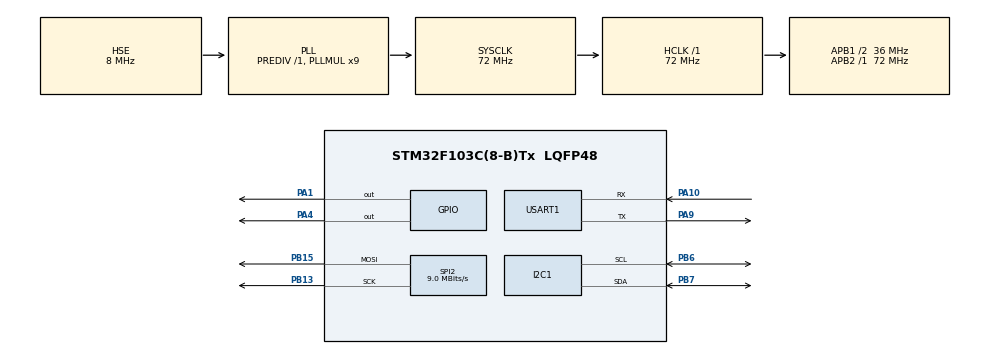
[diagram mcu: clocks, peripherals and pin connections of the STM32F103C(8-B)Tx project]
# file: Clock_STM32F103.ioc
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Mcu.Family=STM32F1
Mcu.Name=STM32F103C(8-B)Tx
Mcu.Package=LQFP48
NVIC.PriorityGroup=NVIC_PRIORITYGROUP_4
NVIC.TIM4_IRQn=true\:0\:0\:false\:false\:true\:true\:true\:true
NVIC.USART1_IRQn=true\:0\:0\:false\:false\:true\:true\:true\:true
PA1.Signal=GPIO_Output
PA10.Mode=Asynchronous
PA10.Signal=USART1_RX
PA13.Mode=Serial_Wire
PA13.Signal=SYS_JTMS-SWDIO
PA14.Mode=Serial_Wire
PA14.Signal=SYS_JTCK-SWCLK
PA4.GPIO_ModeDefaultOutputPP=GPIO_MODE_OUTPUT_OD
PA4.GPIO_Speed=GPIO_SPEED_FREQ_HIGH
PA4.Signal=GPIO_Output
PA9.Mode=Asynchronous
PA9.Signal=USART1_TX
PB13.Mode=TX_Only_Simplex_Unidirect_Master
PB13.Signal=SPI2_SCK
PB15.Mode=TX_Only_Simplex_Unidirect_Master
PB15.Signal=SPI2_MOSI
PB6.GPIO_Pu=GPIO_PULLUP
PB6.Mode=I2C
PB6.Signal=I2C1_SCL
PB7.GPIO_Pu=GPIO_PULLUP
PB7.Mode=I2C
PB7.Signal=I2C1_SDA
PC14-OSC32_IN.Mode=LSE-External-Oscillator
PC14-OSC32_IN.Signal=RCC_OSC32_IN
PC15-OSC32_OUT.Mode=LSE-External-Oscillator
PC15-OSC32_OUT.Signal=RCC_OSC32_OUT
PD0-OSC_IN.Mode=HSE-External-Oscillator
PD0-OSC_IN.Signal=RCC_OSC_IN
PD1-OSC_OUT.Mode=HSE-External-Oscillator
PD1-OSC_OUT.Signal=RCC_OSC_OUT
ProjectManager.HeapSize=0x200
ProjectManager.StackSize=0x400
ProjectManager.TargetToolchain=STM32CubeIDE
RCC.AHBFreq_Value=72000000
RCC.APB1CLKDivider=RCC_HCLK_DIV2
RCC.APB1Freq_Value=36000000
RCC.APB1TimFreq_Value=72000000
RCC.APB2Freq_Value=72000000
RCC.APB2TimFreq_Value=72000000
RCC.HCLKFreq_Value=72000000
RCC.PLLMUL=RCC_PLL_MUL9
RCC.PLLSourceVirtual=RCC_PLLSOURCE_HSE
RCC.RTCClockSelection=RCC_RTCCLKSOURCE_LSE
RCC.SYSCLKFreq_VALUE=72000000
RCC.SYSCLKSource=RCC_SYSCLKSOURCE_PLLCLK
RCC.USBFreq_Value=72000000
RTC.Date=2
RTC.Format=RTC_FORMAT_BIN
RTC.Hours=15
RTC.Minutes=57
RTC.WeekDay=RTC_WEEKDAY_SATURDAY
SPI2.BaudRatePrescaler=SPI_BAUDRATEPRESCALER_4
SPI2.CalculateBaudRate=9.0 MBits/s
SPI2.Direction=SPI_DIRECTION_2LINES
SPI2.Mode=SPI_MODE_MASTER
SPI2.VirtualType=VM_MASTER
TIM4.Period=31999
TIM4.Prescaler=999
USART1.VirtualMode=VM_ASYNC
VP_RTC_VS_RTC_Activate.Mode=RTC_Enabled
VP_RTC_VS_RTC_Calendar.Mode=RTC_Calendar
VP_TIM3_VS_ClockSourceINT.Mode=Internal
VP_TIM4_VS_ClockSourceINT.Mode=Internal
board=custom

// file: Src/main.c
/* USER CODE BEGIN Header */
/**
  ******************************************************************************
  * @file           : main.c
  * @brief          : Main program body
  ******************************************************************************
  * @attention
  *
  * <h2><center>&copy; Copyright (c) 2021 STMicroelectronics.
  * All rights reserved.</center></h2>
  *
  * This software component is licensed by ST under BSD 3-Clause license,
  * the "License"; You may not use this file except in compliance with the
  * License. You may obtain a copy of the License at:
  *                        opensource.org/licenses/BSD-3-Clause
  *
  ******************************************************************************
  */
/* USER CODE END Header */
#include "main.h"

/* USER CODE BEGIN Includes */
#include "MAX7219\font.h"
#include "MAX7219\f6x8m.h"
#include "MAX7219\Max72xx.h"
#include "DHT\dhtConf.h"
#include "DHT\dht.h"
#include <stdio.h>
#include <string.h>
#include <stdlib.h>
/* USER CODE END Includes */

/* USER CODE BEGIN PD */
#define BitSet(xByte,yBit) (xByte|=(1<<yBit))
#define BitClear(xByte,yBit) (xByte&= ~(1<<yBit))
#define BitToggle(xByte,yBit) (xByte^=(1<<yBit))
//#define BitFlip(xByte,yBit) (xByte^=(1<<yBit))
#define BitTest(xByte,yBit)  (xByte&(1<<yBit))
/* USER CODE END PD */

I2C_HandleTypeDef hi2c1;

RTC_HandleTypeDef hrtc;

SPI_HandleTypeDef hspi2;

TIM_HandleTypeDef htim3;
TIM_HandleTypeDef htim4;

UART_HandleTypeDef huart1;

/* USER CODE BEGIN PV */
RTC_TimeTypeDef sTime;
RTC_DateTypeDef sData;
uint8_t needSendData = 0;
DHT_t dht11;
char ScrollBuff[800] = {0};
char WeatherBuffer[100] = {0};
char WeatherTomorrowBuffer[100] = {0};
char WeatherAfterTomorrowBuffer[100] = {0};
char UARTReceiveBuffer[100] = {0};
uint8_t rx_data = 0;
uint16_t rx_index = 0;
uint8_t UARTFlags = 0;
enum E_UARTFlags
{
	E_UARTFlags_UART_RX_COMPLEATE = 0,
	E_UARTFlags_MESSAGE_TOO_LONG,
};
enum E_MyErrore
{
	E_MyErrore_FAILED_TO_ACCEPT_HTTP_REQUEST = 1,
	E_MyErrore_FAILED_TO_CONNECT_TO_ACCESS_POINT,
	E_MyErrore_TIMED_OUT_WHEN_RECEIVING_DATA_FROM_THE_UART,
	E_MyErrore_NOT_DESCRIBED_ERROR,
};
/* USER CODE END PV */

void SystemClock_Config(void);
static void MX_GPIO_Init(void);
static void MX_RTC_Init(void);
static void MX_SPI2_Init(void);
static void MX_TIM4_Init(void);
static void MX_USART1_UART_Init(void);
static void MX_TIM3_Init(void);
static void MX_I2C1_Init(void);

/* USER CODE BEGIN 0 */
void HAL_TIM_PeriodElapsedCallback(TIM_HandleTypeDef* htim)
{
	needSendData = 1;
    //HAL_GPIO_TogglePin(GPIOB, GPIO_PIN_13);
}
void HAL_GPIO_EXTI_Callback(uint16_t GPIO_Pin)
{
  if(GPIO_Pin == dht11.pin)
  {
    DHT_pinChangeCallBack(&dht11);
  }
}

void HAL_UART_RxCpltCallback(UART_HandleTypeDef *huart)
{
	if(huart->Instance == USART1)
	{
		if(rx_index == 0)
		{
			for(uint16_t i = 0; i < sizeof(UARTReceiveBuffer); i++)
			{
				UARTReceiveBuffer[i] = 0;
			}
		}
		if(rx_data != 13)
		{
			if(sizeof(UARTReceiveBuffer) -1 == rx_index)
			{
				BitSet(UARTFlags, E_UARTFlags_MESSAGE_TOO_LONG);
				BitSet(UARTFlags, E_UARTFlags_UART_RX_COMPLEATE);
			}
			else
			{
				UARTReceiveBuffer[rx_index++] = rx_data;
				HAL_UART_Receive_IT(&huart1, &rx_data, 1);
			}
		}
		else if(rx_data == 13)
		{
			BitSet(UARTFlags, E_UARTFlags_UART_RX_COMPLEATE);
			//uartMessage_rx_compleate = 1;
		}

	}
}
uint8_t UARTHandleRx()
{
	if(BitTest(UARTFlags, E_UARTFlags_MESSAGE_TOO_LONG))
	{
		BitClear(UARTFlags, E_UARTFlags_MESSAGE_TOO_LONG);
		BitClear(UARTFlags, E_UARTFlags_UART_RX_COMPLEATE);
		rx_index = 0;
		return 0;
	}
	else
	{
		BitClear(UARTFlags, E_UARTFlags_UART_RX_COMPLEATE);
		rx_index = 0;
		return 1;
	}
	//return 0;
}

uint8_t UARTcheckMessageForErrors()
{
	if(strstr(UARTReceiveBuffer, "Errore") != NULL)// my errore
	{
		return *strstr(UARTReceiveBuffer, "Errore")+7;
	}
	else if(atoi(UARTReceiveBuffer) < 0)//httpClient errore
	{
		return 255 + atoi(UARTReceiveBuffer);
	}
//#define HTTPC_ERROR_CONNECTION_FAILED   (-1)
//#define HTTPC_ERROR_SEND_HEADER_FAILED  (-2)
//#define HTTPC_ERROR_SEND_PAYLOAD_FAILED (-3)
//#define HTTPC_ERROR_NOT_CONNECTED       (-4)
//#define HTTPC_ERROR_CONNECTION_LOST     (-5)
//#define HTTPC_ERROR_NO_STREAM           (-6)
//#define HTTPC_ERROR_NO_HTTP_SERVER      (-7)
//#define HTTPC_ERROR_TOO_LESS_RAM        (-8)
//#define HTTPC_ERROR_ENCODING            (-9)
//#define HTTPC_ERROR_STREAM_WRITE        (-10)
//#define HTTPC_ERROR_READ_TIMEOUT        (-11)
	return 0;
}

uint8_t UARTReadLine(UART_HandleTypeDef *huart, uint32_t rxTimeout)
{
	HAL_UART_Receive_IT(&huart1,&rx_data, 1);
	uint32_t timeOut = 0;
	while(!BitTest(UARTFlags, E_UARTFlags_UART_RX_COMPLEATE))
	{
		HAL_Delay(1);
		if(timeOut++ > rxTimeout)
		{
			return 3;
		}
	}
	if(UARTHandleRx())
	{
		uint8_t temp = UARTcheckMessageForErrors();
		if(temp == 0)
		{
			return 0;
		}
		else
			return temp;
	}
	else
	{
		return 4;
	}
//	return 0;
}

uint8_t UARTSendDataAndReadLine(UART_HandleTypeDef *huart, uint8_t *pData, uint16_t txSize,
uint32_t txTimeout, uint32_t rxTimeout)
{
	HAL_UART_Transmit(huart, pData, txSize, txTimeout);
	//HAL_Delay(100);
	return UARTReadLine(huart, rxTimeout);
}

uint8_t init_Time(uint32_t TimeOut)
{
	//char tempBuf[40]={0};
//		HAL_UART_Transmit(&huart1, (uint8_t *) "getDateTime", 30, 500);
//		//HAL_Delay(100);
//		HAL_UART_Receive_IT(&huart1,&rx_data, 1);
//		uint8_t timeOut = 0;
//		while(!BitTest(UARTFlags, E_UARTFlags_UART_RX_COMPLEATE))
//		{
//			HAL_Delay(50);
//			if(timeOut++ > 20)
//				break;
//		}
		uint8_t val = UARTSendDataAndReadLine(&huart1, (uint8_t *) "getDateTime", 16, 500, TimeOut);
		if((val >= 244))//get httpClient errore. need read line
		{
			val = UARTReadLine(&huart1, TimeOut);
		}
		if(val == 0)
		{
			char* index;
			index	= (char *) strstr(UARTReceiveBuffer, "tm");
			if(index != NULL)
			//if(strstr(UARTReceiveBuffer, "tm") != NULL)
			{
				//dt 14, 15, 16
				sTime.Hours = (uint8_t) UARTReceiveBuffer[35] - 30;
				sTime.Minutes = (uint8_t) UARTReceiveBuffer[36] - 30;
				sTime.Seconds = (uint8_t) UARTReceiveBuffer[37] - 30;
//				index += 3;
//				sData.Year = (uint8_t) UARTReceiveBuffer[14] - 30;
//				sData.Month = (uint8_t) UARTReceiveBuffer[15] - 30;
//				sData.Date = (uint8_t) UARTReceiveBuffer[16] - 30;
				HAL_RTC_SetTime(&hrtc, &sTime, RTC_FORMAT_BIN);
				return 0;
			}
			else
				return E_MyErrore_NOT_DESCRIBED_ERROR;
		}
		else
			return val;
}

uint8_t getWeather(uint32_t timeOut)
{
	uint8_t j = 0;
	for(uint8_t n = 1; n < 4; n++)
	{
		char tempBuf[16];// = "getWeather_";
		sprintf(tempBuf, "getWeather_%.u    ", n);
//		HAL_UART_Transmit(&huart1, (uint8_t *) tempBuf , 30, 500);
//		//HAL_Delay(100);
//		HAL_UART_Receive_IT(&huart1,&rx_data, 1);
//		uint8_t _timeOut = 0;
//		while(!BitTest(UARTFlags, E_UARTFlags_UART_RX_COMPLEATE))
//		{
//			HAL_Delay(1);
//			if(_timeOut++ > timeOut)
//				break;
//		}
		uint8_t val = UARTSendDataAndReadLine(&huart1, (uint8_t *) tempBuf, 16, 500, timeOut);
		if((val >= 244))//get httpClient errore. need read line
		{
			val = UARTReadLine(&huart1, timeOut);
		}
		if(val == 0)
		{
			for(uint16_t i = 0; i < sizeof(WeatherBuffer); i++)
			{
				switch (n)
				{
					case 1:
						WeatherBuffer[i] = UARTReceiveBuffer[i];
						break;
					case 2:
						WeatherTomorrowBuffer[i] = UARTReceiveBuffer[i];
						break;
					case 3:
						WeatherAfterTomorrowBuffer[i] = UARTReceiveBuffer[i];
						break;
				}
			}
			j++;
		}
		else
			return val;
	}
	if(j == 3)
		return 0;
	return E_MyErrore_NOT_DESCRIBED_ERROR;
}

void printTime(void)
{
	char tempBuf[6]={0};
	HAL_RTC_GetTime(&hrtc, &sTime, RTC_FORMAT_BIN);
		if((sTime.Hours < 10)&&(sTime.Minutes < 10))
		{
			sprintf(tempBuf, "0%.u:0%.u", sTime.Hours, sTime.Minutes);
		}
		else if((sTime.Hours < 10))
		{
			sprintf(tempBuf, "0%.u:%.u", sTime.Hours, sTime.Minutes);
		}
		else if((sTime.Minutes < 10))
		{
			sprintf(tempBuf, "%.u:0%.u", sTime.Hours, sTime.Minutes);
		}
		else
		{
			sprintf(tempBuf, "%.u:%.u", sTime.Hours, sTime.Minutes);
		}
		font_DrawString((uint8_t *) tempBuf, (uint8_t *) ledmatrix_screenbuff, MAX7219_NUM*8);
	  ledmatrix_update_from_buff();
		//demo_ScrollBuff((uint8_t *) ScrollBuff, ScrollLines, 1);
}

/* USER CODE END 0 */

int main(void)
{

  /* MCU Configuration--------------------------------------------------------*/

  /* Reset of all peripherals, Initializes the Flash interface and the Systick. */
  HAL_Init();

  /* Configure the system clock */
  SystemClock_Config();

  /* Initialize all configured peripherals */
  MX_GPIO_Init();
  MX_RTC_Init();
  MX_SPI2_Init();
  MX_TIM4_Init();
  MX_USART1_UART_Init();
  MX_TIM3_Init();
  MX_I2C1_Init();
  /* USER CODE BEGIN 2 */
	ledmatrix_init();
  max7219_set_testmode_onoff(MAX7219_ALL_IDX, 1);
  HAL_Delay(500);
  max7219_set_testmode_onoff(MAX7219_ALL_IDX, 0);
  max7219_set_intensity(MAX7219_ALL_IDX, 1);
  DHT_init(&dht11, DHT_Type_DHT21, &htim3, 72, GPIOA, GPIO_PIN_4);
  __HAL_RCC_TIM3_CLK_ENABLE();
	__HAL_UART_ENABLE_IT(&huart1, UART_IT_RXNE);
	HAL_Delay(1000);
	//uint8_t _init_Time = 0;
	uint16_t ScrollLines = 0;
	while(init_Time(6500) != 0)
	{
		//_init_Time = init_Time();
		//uint16_t ScrollLines = 0;
		ScrollLines = font_DrawString((uint8_t *)"Init time", (uint8_t *) ScrollBuff, 60);
	  demo_ScrollBuff((uint8_t *) ScrollBuff, ScrollLines, 1, 30);

	}
	while(getWeather(9000) != 0)
	{
		//_init_Time = init_Time();
		//uint16_t ScrollLines = 0;
		ScrollLines = font_DrawString((uint8_t *)"getWeather", (uint8_t *) ScrollBuff, 60);
	  demo_ScrollBuff((uint8_t *) ScrollBuff, ScrollLines, 1, 30);
	}
	float temperature, humidity;
	DHT_readData(&dht11, &temperature, &humidity);
  /* USER CODE END 2 */

  /* Infinite loop */
  /* USER CODE BEGIN WHILE */
  while (1)
  {
		char tempBuf[40]={0};

	  if (DHT_readData(&dht11, &temperature, &humidity))
	  {
		  //sprintf(ScrollBuff,"%.2ft",temperature);//float convert to string
		  sprintf(tempBuf,"%.1ft %.1fh", temperature, humidity);//float convert to string
		  ScrollLines = font_DrawString((uint8_t *) tempBuf, (uint8_t *)ScrollBuff, 100);
		  //ledmatrix_update_from_buff();
		  demo_ScrollBuff((uint8_t *) ScrollBuff, ScrollLines, 1, 18);
		  //HAL_Delay(2000);
		  //sprintf(ScrollBuff,"%.2fh", humidity);//float convert to string
		  //font_DrawString((uint8_t *) ScrollBuff, ledmatrix_screenbuff, MAX7219_NUM * 8);
		  //ledmatrix_update_from_buff();
		  //HAL_Delay(2000);
	  }
		printTime();
		HAL_Delay(10000);
		ScrollLines = font_DrawString((uint8_t *) WeatherBuffer, (uint8_t *) ScrollBuff, 799);
	  demo_ScrollBuff((uint8_t *) ScrollBuff, ScrollLines, 1, 25);
		printTime();
		HAL_Delay(10000);
		ScrollLines = font_DrawString((uint8_t *) WeatherTomorrowBuffer, (uint8_t *) ScrollBuff, 799);
	  demo_ScrollBuff((uint8_t *) ScrollBuff, ScrollLines, 1, 25);
		printTime();
		HAL_Delay(10000);
		ScrollLines = font_DrawString((uint8_t *) WeatherAfterTomorrowBuffer, (uint8_t *) ScrollBuff, 799);
	  demo_ScrollBuff((uint8_t *) ScrollBuff, ScrollLines, 1, 25);
		//showBuffer((uint8_t *) ScrollBuff);
		if(needSendData)
		{
			/*
			HAL_RTC_GetTime(&hrtc, &sTime, RTC_FORMAT_BIN);
			sprintf(tempBuf, "hours %.u min %.u  \r\n", sTime.Hours, sTime.Minutes);
			HAL_UART_Transmit(&huart1, (uint8_t *) tempBuf, 30, 500);
			needSendData = 0;
			HAL_UART_Receive(&huart1, (uint8_t *) tempBuf, 30, 100);
			if(strstr(tempBuf, "sT") != NULL)
			{
				sTime.Hours = (uint8_t)tempBuf[0] - 30;
				sTime.Minutes = (uint8_t)tempBuf[2] - 30;
				sTime.Seconds = 0;
				sprintf(tempBuf, "hours %.u min %.u  \r\n", sTime.Hours, sTime.Minutes);
			  HAL_UART_Transmit(&huart1, (uint8_t *) tempBuf, 30, 500);
				HAL_RTC_SetTime(&hrtc, &sTime, RTC_FORMAT_BIN);
				HAL_UART_Transmit(&huart1, (uint8_t *) tempBuf, 30, 500);
				HAL_RTC_GetDate(&hrtc, &sData, RTC_FORMAT_BIN);
				sprintf(tempBuf, "day %.u mounth %.u \r\n", sData.Date, sData.Month);
				HAL_UART_Transmit(&huart1, (uint8_t *) tempBuf, 30, 500);
			}
			*/
		}
		//HAL_Delay(3000);
    /* USER CODE END WHILE */

  }
}

void SystemClock_Config(void)
{
  RCC_OscInitTypeDef RCC_OscInitStruct = {0};
  RCC_ClkInitTypeDef RCC_ClkInitStruct = {0};
  RCC_PeriphCLKInitTypeDef PeriphClkInit = {0};

  /** Initializes the RCC Oscillators according to the specified parameters
  * in the RCC_OscInitTypeDef structure.
  */
  RCC_OscInitStruct.OscillatorType = RCC_OSCILLATORTYPE_HSE|RCC_OSCILLATORTYPE_LSE;
  RCC_OscInitStruct.HSEState = RCC_HSE_ON;
  RCC_OscInitStruct.HSEPredivValue = RCC_HSE_PREDIV_DIV1;
  RCC_OscInitStruct.LSEState = RCC_LSE_ON;
  RCC_OscInitStruct.HSIState = RCC_HSI_ON;
  RCC_OscInitStruct.PLL.PLLState = RCC_PLL_ON;
  RCC_OscInitStruct.PLL.PLLSource = RCC_PLLSOURCE_HSE;
  RCC_OscInitStruct.PLL.PLLMUL = RCC_PLL_MUL9;
  if (HAL_RCC_OscConfig(&RCC_OscInitStruct) != HAL_OK)
  {
    Error_Handler();
  }

  /** Initializes the CPU, AHB and APB buses clocks
  */
  RCC_ClkInitStruct.ClockType = RCC_CLOCKTYPE_HCLK|RCC_CLOCKTYPE_SYSCLK
                              |RCC_CLOCKTYPE_PCLK1|RCC_CLOCKTYPE_PCLK2;
  RCC_ClkInitStruct.SYSCLKSource = RCC_SYSCLKSOURCE_PLLCLK;
  RCC_ClkInitStruct.AHBCLKDivider = RCC_SYSCLK_DIV1;
  RCC_ClkInitStruct.APB1CLKDivider = RCC_HCLK_DIV2;
  RCC_ClkInitStruct.APB2CLKDivider = RCC_HCLK_DIV1;

  if (HAL_RCC_ClockConfig(&RCC_ClkInitStruct, FLASH_LATENCY_2) != HAL_OK)
  {
    Error_Handler();
  }
  PeriphClkInit.PeriphClockSelection = RCC_PERIPHCLK_RTC;
  PeriphClkInit.RTCClockSelection = RCC_RTCCLKSOURCE_LSE;
  if (HAL_RCCEx_PeriphCLKConfig(&PeriphClkInit) != HAL_OK)
  {
    Error_Handler();
  }
}

static void MX_I2C1_Init(void)
{

  hi2c1.Instance = I2C1;
  hi2c1.Init.ClockSpeed = 100000;
  hi2c1.Init.DutyCycle = I2C_DUTYCYCLE_2;
  hi2c1.Init.OwnAddress1 = 0;
  hi2c1.Init.AddressingMode = I2C_ADDRESSINGMODE_7BIT;
  hi2c1.Init.DualAddressMode = I2C_DUALADDRESS_DISABLE;
  hi2c1.Init.OwnAddress2 = 0;
  hi2c1.Init.GeneralCallMode = I2C_GENERALCALL_DISABLE;
  hi2c1.Init.NoStretchMode = I2C_NOSTRETCH_DISABLE;
  if (HAL_I2C_Init(&hi2c1) != HAL_OK)
  {
    Error_Handler();
  }

}

static void MX_RTC_Init(void)
{

  RTC_TimeTypeDef sTime = {0};
  RTC_DateTypeDef DateToUpdate = {0};

  /** Initialize RTC Only
  */
  hrtc.Instance = RTC;
  hrtc.Init.AsynchPrediv = RTC_AUTO_1_SECOND;
  hrtc.Init.OutPut = RTC_OUTPUTSOURCE_ALARM;
  if (HAL_RTC_Init(&hrtc) != HAL_OK)
  {
    Error_Handler();
  }

  /** Initialize RTC and set the Time and Date
  */
  sTime.Hours = 15;
  sTime.Minutes = 57;
  sTime.Seconds = 0;

  if (HAL_RTC_SetTime(&hrtc, &sTime, RTC_FORMAT_BIN) != HAL_OK)
  {
    Error_Handler();
  }
  DateToUpdate.WeekDay = RTC_WEEKDAY_SATURDAY;
  DateToUpdate.Month = RTC_MONTH_JANUARY;
  DateToUpdate.Date = 2;
  DateToUpdate.Year = 0;

  if (HAL_RTC_SetDate(&hrtc, &DateToUpdate, RTC_FORMAT_BIN) != HAL_OK)
  {
    Error_Handler();
  }

}

static void MX_SPI2_Init(void)
{

  /* SPI2 parameter configuration*/
  hspi2.Instance = SPI2;
  hspi2.Init.Mode = SPI_MODE_MASTER;
  hspi2.Init.Direction = SPI_DIRECTION_2LINES;
  hspi2.Init.DataSize = SPI_DATASIZE_8BIT;
  hspi2.Init.CLKPolarity = SPI_POLARITY_LOW;
  hspi2.Init.CLKPhase = SPI_PHASE_1EDGE;
  hspi2.Init.NSS = SPI_NSS_SOFT;
  hspi2.Init.BaudRatePrescaler = SPI_BAUDRATEPRESCALER_4;
  hspi2.Init.FirstBit = SPI_FIRSTBIT_MSB;
  hspi2.Init.TIMode = SPI_TIMODE_DISABLE;
  hspi2.Init.CRCCalculation = SPI_CRCCALCULATION_DISABLE;
  hspi2.Init.CRCPolynomial = 10;
  if (HAL_SPI_Init(&hspi2) != HAL_OK)
  {
    Error_Handler();
  }

}

static void MX_TIM3_Init(void)
{

  TIM_ClockConfigTypeDef sClockSourceConfig = {0};
  TIM_MasterConfigTypeDef sMasterConfig = {0};

  htim3.Instance = TIM3;
  htim3.Init.Prescaler = 0;
  htim3.Init.CounterMode = TIM_COUNTERMODE_UP;
  htim3.Init.Period = 65535;
  htim3.Init.ClockDivision = TIM_CLOCKDIVISION_DIV1;
  htim3.Init.AutoReloadPreload = TIM_AUTORELOAD_PRELOAD_DISABLE;
  if (HAL_TIM_Base_Init(&htim3) != HAL_OK)
  {
    Error_Handler();
  }
  sClockSourceConfig.ClockSource = TIM_CLOCKSOURCE_INTERNAL;
  if (HAL_TIM_ConfigClockSource(&htim3, &sClockSourceConfig) != HAL_OK)
  {
    Error_Handler();
  }
  sMasterConfig.MasterOutputTrigger = TIM_TRGO_RESET;
  sMasterConfig.MasterSlaveMode = TIM_MASTERSLAVEMODE_DISABLE;
  if (HAL_TIMEx_MasterConfigSynchronization(&htim3, &sMasterConfig) != HAL_OK)
  {
    Error_Handler();
  }

}

static void MX_TIM4_Init(void)
{

  TIM_ClockConfigTypeDef sClockSourceConfig = {0};
  TIM_MasterConfigTypeDef sMasterConfig = {0};

  htim4.Instance = TIM4;
  htim4.Init.Prescaler = 999;
  htim4.Init.CounterMode = TIM_COUNTERMODE_UP;
  htim4.Init.Period = 31999;
  htim4.Init.ClockDivision = TIM_CLOCKDIVISION_DIV1;
  htim4.Init.AutoReloadPreload = TIM_AUTORELOAD_PRELOAD_DISABLE;
  if (HAL_TIM_Base_Init(&htim4) != HAL_OK)
  {
    Error_Handler();
  }
  sClockSourceConfig.ClockSource = TIM_CLOCKSOURCE_INTERNAL;
  if (HAL_TIM_ConfigClockSource(&htim4, &sClockSourceConfig) != HAL_OK)
  {
    Error_Handler();
  }
  sMasterConfig.MasterOutputTrigger = TIM_TRGO_RESET;
  sMasterConfig.MasterSlaveMode = TIM_MASTERSLAVEMODE_DISABLE;
  if (HAL_TIMEx_MasterConfigSynchronization(&htim4, &sMasterConfig) != HAL_OK)
  {
    Error_Handler();
  }

}

static void MX_USART1_UART_Init(void)
{

  huart1.Instance = USART1;
  huart1.Init.BaudRate = 115200;
  huart1.Init.WordLength = UART_WORDLENGTH_8B;
  huart1.Init.StopBits = UART_STOPBITS_1;
  huart1.Init.Parity = UART_PARITY_NONE;
  huart1.Init.Mode = UART_MODE_TX_RX;
  huart1.Init.HwFlowCtl = UART_HWCONTROL_NONE;
  huart1.Init.OverSampling = UART_OVERSAMPLING_16;
  if (HAL_UART_Init(&huart1) != HAL_OK)
  {
    Error_Handler();
  }

}

static void MX_GPIO_Init(void)
{
  GPIO_InitTypeDef GPIO_InitStruct = {0};

  /* GPIO Ports Clock Enable */
  __HAL_RCC_GPIOC_CLK_ENABLE();
  __HAL_RCC_GPIOD_CLK_ENABLE();
  __HAL_RCC_GPIOA_CLK_ENABLE();
  __HAL_RCC_GPIOB_CLK_ENABLE();

  /*Configure GPIO pin Output Level */
  HAL_GPIO_WritePin(GPIOA, GPIO_PIN_1|GPIO_PIN_4, GPIO_PIN_RESET);

  /*Configure GPIO pin : PA1 */
  GPIO_InitStruct.Pin = GPIO_PIN_1;
  GPIO_InitStruct.Mode = GPIO_MODE_OUTPUT_PP;
  GPIO_InitStruct.Pull = GPIO_NOPULL;
  GPIO_InitStruct.Speed = GPIO_SPEED_FREQ_LOW;
  HAL_GPIO_Init(GPIOA, &GPIO_InitStruct);

  /*Configure GPIO pin : PA4 */
  GPIO_InitStruct.Pin = GPIO_PIN_4;
  GPIO_InitStruct.Mode = GPIO_MODE_OUTPUT_OD;
  GPIO_InitStruct.Pull = GPIO_NOPULL;
  GPIO_InitStruct.Speed = GPIO_SPEED_FREQ_HIGH;
  HAL_GPIO_Init(GPIOA, &GPIO_InitStruct);

}

void Error_Handler(void)
{
}
